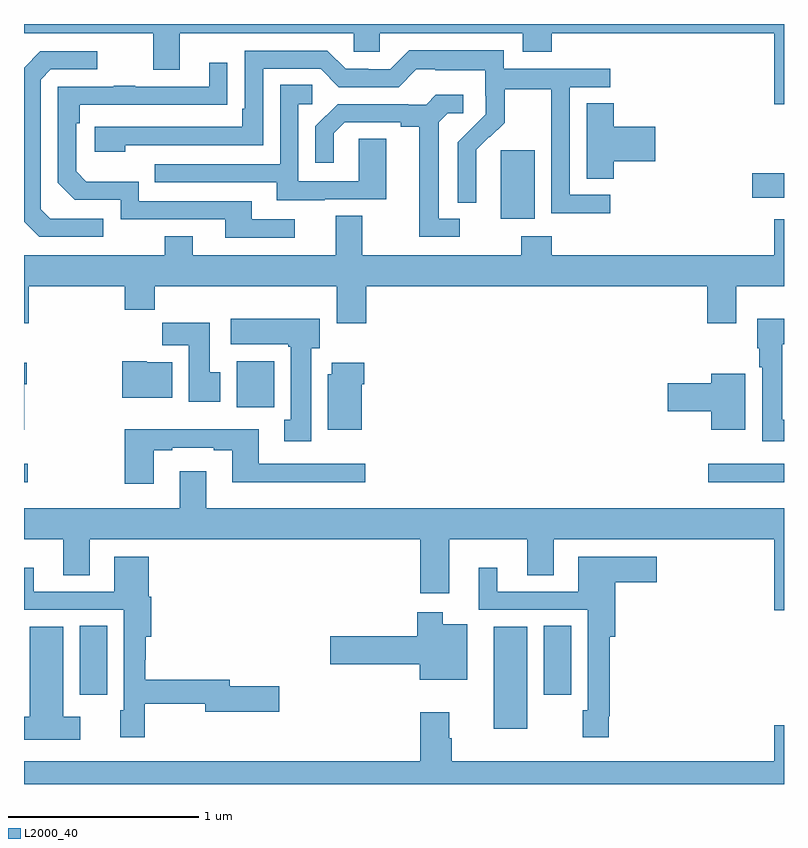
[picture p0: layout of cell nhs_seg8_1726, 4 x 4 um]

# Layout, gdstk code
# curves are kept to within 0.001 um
import gdstk
lib = gdstk.Library(unit=1e-6, precision=1e-09)
def R(c, l, rs):  # rectangles x0, y0, x1, y1
    for r in rs: c.add(gdstk.rectangle(r[:2], r[2:], *l))
def P(c, l, *ps):  # polygons
    for p in ps: c.add(gdstk.Polygon(p, *l))
L2000_40 = (2000, 40)

nhs_seg8_1726 = lib.new_cell('nhs_seg8_1726')
R(nhs_seg8_1726, L2000_40, [(223.472,1094.192,223.648,1094.728), (221.294,1094.37,221.437,1094.732), (223.736,1094.37,223.879,1094.732), (221,1095.488,221.02,1095.585), (224.601,1095.488,225,1095.585), (222.119,1095.884,222.316,1096.126), (223.508,1096.874,223.687,1097.235), (224.832,1096.985,225,1097.115)])
P(nhs_seg8_1726, L2000_40, [(225,1097.9),(221,1097.9),(221,1097.852),(221.681,1097.852),(221.681,1097.658),(221.821,1097.658),(221.821,1097.852),(222.735,1097.852),(222.735,1097.754),(222.873,1097.754),(222.873,1097.852),(223.625,1097.852),(223.625,1097.753),(223.778,1097.753),(223.778,1097.852),(224.948,1097.852),(224.948,1097.478),(225,1097.478)],
  [(224.086,1097.001),(223.872,1097.001),(223.872,1097.568),(224.086,1097.568),(224.086,1097.664),(223.524,1097.664),(223.524,1097.761),(223.027,1097.761),(222.927,1097.661),(222.812,1097.661),(222.812,1097.664),(222.693,1097.664),(222.597,1097.76),(222.162,1097.76),(222.162,1097.455),(222.149,1097.455),(222.149,1097.358),(221.373,1097.358),(221.373,1097.228),(221.534,1097.228),(221.534,1097.262),(222.258,1097.262),(222.258,1097.664),(222.561,1097.664),(222.657,1097.568),(222.972,1097.568),(223.065,1097.661),(223.165,1097.661),(223.165,1097.657),(223.428,1097.657),(223.428,1097.523),(223.43,1097.523),(223.43,1097.426),(223.284,1097.278),(223.284,1096.96),(223.38,1096.96),(223.379,1097.237),(223.449,1097.307),(223.452,1097.304),(223.529,1097.381),(223.529,1097.556),(223.774,1097.556),(223.774,1097.332),(223.776,1097.332),(223.776,1096.903),(224.086,1096.903)],
  [(221.416,1096.875),(221.139,1096.875),(221.088,1096.926),(221.088,1097.607),(221.142,1097.661),(221.386,1097.661),(221.386,1097.757),(221.085,1097.757),(221,1097.671),(221,1096.858),(221.079,1096.779),(221.416,1096.779)],
  [(222.424,1096.872),(222.199,1096.872),(222.199,1096.968),(221.604,1096.968),(221.604,1097.071),(221.327,1097.071),(221.274,1097.124),(221.274,1097.378),(221.294,1097.378),(221.294,1097.475),(222.071,1097.476),(222.071,1097.695),(221.975,1097.695),(221.975,1097.571),(221.585,1097.571),(221.585,1097.576),(221.473,1097.576),(221.473,1097.571),(221.178,1097.571),(221.178,1097.064),(221.268,1096.974),(221.508,1096.974),(221.508,1096.872),(222.059,1096.872),(222.059,1096.776),(222.424,1096.776)],
  [(222.583,1096.977),(222.907,1096.977),(222.907,1097.297),(222.762,1097.297),(222.762,1097.073),(222.444,1097.073),(222.444,1097.478),(222.517,1097.478),(222.517,1097.579),(222.348,1097.579),(222.348,1097.163),(221.689,1097.163),(221.689,1097.067),(222.329,1097.067),(222.329,1096.973),(222.583,1096.973)],
  [(223.294,1096.875),(223.183,1096.875),(223.183,1097.383),(223.23,1097.43),(223.312,1097.43),(223.312,1097.527),(223.168,1097.527),(223.116,1097.475),(223.022,1097.475),(223.022,1097.478),(222.65,1097.478),(222.534,1097.362),(222.534,1097.169),(222.631,1097.169),(222.631,1097.325),(222.688,1097.382),(222.983,1097.382),(222.983,1097.36),(223.079,1097.36),(223.079,1096.779),(223.294,1096.779)],
  [(224.105,1097.177),(224.323,1097.177),(224.323,1097.36),(224.105,1097.36),(224.105,1097.483),(223.961,1097.483),(223.961,1097.086),(224.105,1097.086)],
  [(221.024,1096.52),(221.531,1096.52),(221.531,1096.396),(221.687,1096.396),(221.687,1096.52),(222.647,1096.52),(222.647,1096.326),(222.8,1096.326),(222.8,1096.52),(224.597,1096.52),(224.597,1096.326),(224.749,1096.326),(224.749,1096.52),(225,1096.52),(225,1096.873),(224.948,1096.873),(224.948,1096.684),(223.778,1096.684),(223.778,1096.783),(223.618,1096.783),(223.618,1096.684),(222.781,1096.684),(222.781,1096.892),(222.641,1096.892),(222.641,1096.684),(221.887,1096.684),(221.887,1096.783),(221.74,1096.783),(221.74,1096.684),(221,1096.684),(221,1096.326),(221.024,1096.326)],
  [(222.511,1096.194),(222.556,1096.194),(222.556,1096.348),(222.087,1096.348),(222.087,1096.214),(222.391,1096.214),(222.391,1096.201),(222.404,1096.201),(222.404,1095.818),(222.371,1095.818),(222.371,1095.705),(222.511,1095.705)],
  [(225,1095.818),(224.992,1095.818),(224.992,1096.214),(225,1096.214),(225,1096.348),(224.858,1096.348),(224.858,1096.194),(224.87,1096.194),(224.87,1096.094),(224.885,1096.094),(224.885,1095.705),(225,1095.705)],
  [(222.034,1096.068),(221.977,1096.068),(221.977,1096.327),(221.728,1096.327),(221.728,1096.208),(221.867,1096.208),(221.867,1095.912),(222.034,1095.912)],
  [(221.779,1096.12),(221.646,1096.12),(221.646,1096.126),(221.516,1096.126),(221.516,1095.932),(221.779,1095.932)],
  [(222.778,1096.004),(222.791,1096.004),(222.791,1096.117),(222.62,1096.117),(222.62,1096.056),(222.599,1096.056),(222.599,1095.764),(222.778,1095.764)],
  [(221.002,1096.004),(221.015,1096.004),(221.015,1096.117),(221,1096.117),(221,1095.764),(221.002,1095.764)],
  [(224.797,1096.06),(224.618,1096.06),(224.618,1096.01),(224.388,1096.01),(224.388,1095.863),(224.618,1095.863),(224.618,1095.764),(224.797,1095.764)],
  [(221.683,1095.657),(221.779,1095.657),(221.779,1095.669),(221.999,1095.669),(221.999,1095.657),(222.095,1095.657),(222.095,1095.488),(222.796,1095.488),(222.796,1095.585),(222.235,1095.585),(222.235,1095.766),(221.531,1095.766),(221.531,1095.48),(221.683,1095.48)],
  [(225,1095.352),(221.959,1095.352),(221.959,1095.547),(221.819,1095.547),(221.819,1095.352),(221,1095.352),(221,1095.188),(221.207,1095.188),(221.207,1094.998),(221.347,1094.998),(221.347,1095.188),(223.085,1095.188),(223.085,1094.904),(223.237,1094.904),(223.237,1095.188),(223.649,1095.188),(223.649,1094.998),(223.789,1094.998),(223.789,1095.188),(224.948,1095.188),(224.948,1094.814),(225,1094.814)],
  [(224.077,1094.257),(224.084,1094.257),(224.084,1094.675),(224.111,1094.675),(224.111,1094.963),(224.329,1094.963),(224.329,1095.097),(223.916,1095.097),(223.916,1094.913),(223.492,1094.913),(223.492,1095.037),(223.394,1095.037),(223.394,1094.817),(223.968,1094.817),(223.968,1094.289),(223.942,1094.289),(223.942,1094.145),(224.077,1094.145)],
  [(221.635,1094.322),(221.954,1094.322),(221.954,1094.279),(222.343,1094.279),(222.343,1094.414),(222.082,1094.414),(222.082,1094.45),(221.638,1094.45),(221.638,1094.553),(221.642,1094.553),(221.642,1094.675),(221.669,1094.675),(221.669,1094.886),(221.656,1094.886),(221.656,1095.097),(221.474,1095.097),(221.474,1094.913),(221.05,1094.913),(221.05,1095.037),(221,1095.037),(221,1094.817),(221.526,1094.817),(221.526,1094.289),(221.507,1094.289),(221.507,1094.145),(221.635,1094.145)],
  [(223.333,1094.74),(223.204,1094.74),(223.204,1094.803),(223.07,1094.803),(223.07,1094.678),(222.612,1094.678),(222.612,1094.531),(223.082,1094.531),(223.082,1094.45),(223.333,1094.45)],
  [(221.296,1094.254),(221.206,1094.254),(221.206,1094.728),(221.03,1094.728),(221.03,1094.254),(221,1094.254),(221,1094.132),(221.296,1094.132)],
  [(225,1094.209),(224.948,1094.209),(224.948,1094.02),(223.25,1094.02),(223.25,1094.141),(223.237,1094.141),(223.237,1094.278),(223.085,1094.278),(223.085,1094.02),(221,1094.02),(221,1093.9),(225,1093.9)])

lib.write_gds('nhs_seg8_1726.gds')
